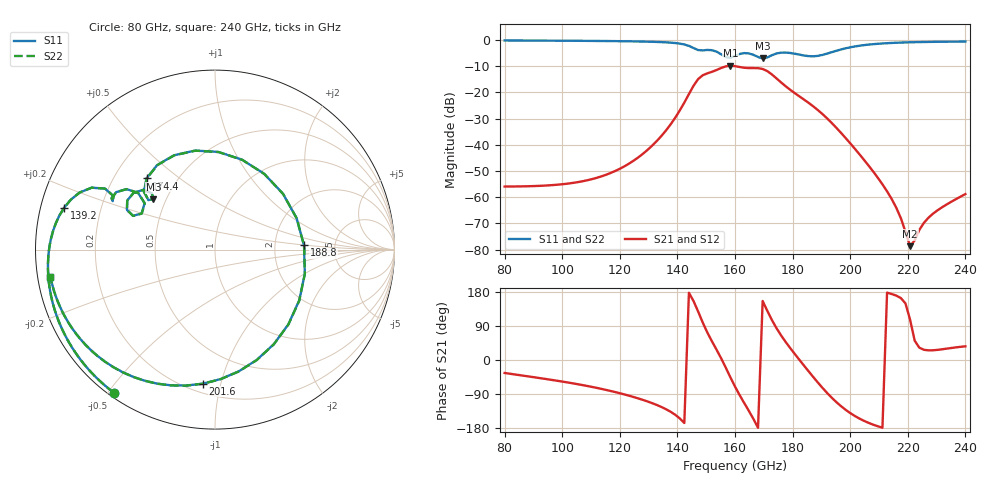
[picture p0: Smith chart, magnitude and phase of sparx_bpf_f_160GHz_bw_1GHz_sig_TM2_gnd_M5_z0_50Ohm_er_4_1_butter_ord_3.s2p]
#  GHZ S DB R 50.0
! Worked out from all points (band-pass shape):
!   101 points, 80 GHz to 240 GHz, reference 50 ohm
!   highest |S21| = -9.86 dB at 158.4 GHz (marker M1); lowest = -78.7 dB at 220.8 GHz (marker M2)
!   |S21| within 3 dB of the highest: 150.2 GHz to 172.4 GHz (22.26 GHz wide, 13.8 % of centre)
!   lowest |S11| = -7.1 dB at 169.6 GHz (marker M3), VSWR 2.59, Z = 21.3 + j14.9 ohm
!   |S11| at or under -10 dB: nowhere
!   |S22| runs from -7.1 to -0.2 dB; largest |S21 - S12| = 3.2e-12
!   S11 on the Smith chart (normalised r, x): 80 GHz: 0.02, -0.52; 139.2 GHz: 0.07, +0.14; 174.4 GHz: 0.34, +0.38; 188.8 GHz: 2.96, +0.19; 201.6 GHz: 0.26, -0.88; 240 GHz: 0.04, -0.08
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80  -0.21 -125.3  -55.93 -34.2  -55.93 -34.2  -0.21 -125.3
107.2  -0.36 -153.8  -53.88 -66.4  -53.88 -66.4  -0.36 -153.7
121.6  -0.51 -169.4  -48.22 -90.9  -48.22 -90.9  -0.51 -169.4
134.4  -0.84 173.3  -36.69 -123.8  -36.69 -123.8  -0.84 173.3
139.2  -1.19 164.5  -29.75 -144.3  -29.75 -144.3  -1.19 164.4
147.2  -3.87 152.2  -14.94 127.9  -14.94 127.9  -3.88 152.2
150.4  -3.82 153.6  -12.75 72.4  -12.75 72.4  -3.83 153.6
155.2  -5.48 143.6  -10.71 4.3  -10.71 4.3  -5.49 143.5
158.4  -6.82 153.8  -9.86 -45.6  -9.86 -45.6  -6.85 153.8
160  -6.12 157.6  -10.01 -70.0  -10.01 -70.0  -6.14 157.6
166.4  -5.68 140.2  -10.74 -155.6  -10.74 -155.6  -5.69 140.2
169.6  -7.06 140.7  -11.09 155.7  -11.09 155.7  -7.07 140.6
174.4  -5.19 133.9  -14.67 84.1  -14.67 84.1  -5.20 133.8
180.8  -5.28 88.1  -20.33 15.5  -20.33 15.5  -5.29 87.8
187.2  -6.25 21.2  -25.37 -45.1  -25.37 -45.1  -6.24 20.6
188.8  -6.08 2.7  -26.79 -59.7  -26.79 -59.7  -6.07 2.2
195.2  -4.15 -58.1  -33.53 -111.2  -33.53 -111.2  -4.12 -58.4
201.6  -2.50 -95.2  -41.50 -147.7  -41.50 -147.7  -2.49 -95.3
214.4  -1.16 -134.5  -60.68 174.2  -60.68 174.2  -1.16 -134.4
220.8  -0.91 -146.4  -78.67 106.1  -78.67 106.1  -0.91 -146.3
227.2  -0.77 -155.8  -67.79 25.4  -67.79 25.4  -0.77 -155.7
240  -0.64 -170.7  -58.80 36.0  -58.80 36.0  -0.63 -170.6
